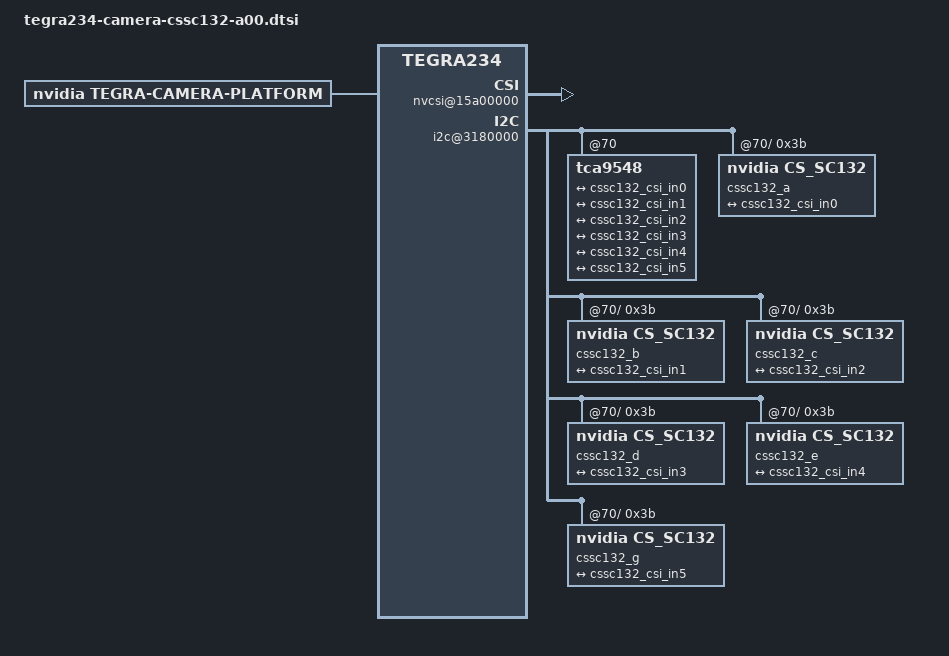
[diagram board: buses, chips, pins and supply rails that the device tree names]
/*
 * Copyright (c) 2015-2022, www.veye.cc.  All rights reserved.
 *
 * This program is free software; you can redistribute it and/or modify it
 * under the terms and conditions of the GNU General Public License,
 * version 2, as published by the Free Software Foundation.
 *
 * This program is distributed in the hope it will be useful, but WITHOUT
 * ANY WARRANTY; without even the implied warranty of MERCHANTABILITY or
 * FITNESS FOR A PARTICULAR PURPOSE.  See the GNU General Public License for
 * more details.
 *
 * You should have received a copy of the GNU General Public License
 * along with this program.  If not, see <http://www.gnu.org/licenses/>.
 */

/ {
	tegra-capture-vi {
		num-channels = <6>;
		ports {
			#address-cells = <1>;
			#size-cells = <0>;
			port@0 {
				reg = <0>;
				cssc132_vi_in0: endpoint {
					port-index = <0>;
					bus-width = <2>;
					remote-endpoint = <&cssc132_csi_out0>;
				};
			};
			port@1 {
				reg = <1>;
				cssc132_vi_in1: endpoint {
					port-index = <1>;
					bus-width = <2>;
					remote-endpoint = <&cssc132_csi_out1>;
				};
			};
			port@2 {
				reg = <2>;
				cssc132_vi_in2: endpoint {
					port-index = <2>;
					bus-width = <2>;
					remote-endpoint = <&cssc132_csi_out2>;
				};
			};
			port@3 {
				reg = <3>;
				cssc132_vi_in3: endpoint {
					port-index = <3>;
					bus-width = <2>;
					remote-endpoint = <&cssc132_csi_out3>;
				};
			};
			port@4 {
				reg = <4>;
				cssc132_vi_in4: endpoint {
					port-index = <4>;
					bus-width = <2>;
					remote-endpoint = <&cssc132_csi_out4>;
				};
			};
			port@5 {
				reg = <5>;
				cssc132_vi_in5: endpoint {
					port-index = <5>;
					bus-width = <2>;
					remote-endpoint = <&cssc132_csi_out5>;
				};
			};
		};
	};

	host1x@13e00000 {
		nvcsi@15a00000 {
			num-channels = <6>;
			#address-cells = <1>;
			#size-cells = <0>;
			status = "okay";
			channel@0 {
				reg = <0>;
				ports {
					#address-cells = <1>;
					#size-cells = <0>;
					port@0 {
						reg = <0>;
						cssc132_csi_in0: endpoint@0 {
							port-index = <0>;
							bus-width = <2>;
							remote-endpoint = <&cssc132_out0>;
						};
					};
					port@1 {
						reg = <1>;
						cssc132_csi_out0: endpoint@1 {
							remote-endpoint = <&cssc132_vi_in0>;
						};
					};
				};
			};
			channel@1 {
				reg = <1>;
				ports {
					#address-cells = <1>;
					#size-cells = <0>;
					port@0 {
						reg = <0>;
						cssc132_csi_in1: endpoint@2 {
							port-index = <1>;
							bus-width = <2>;
							remote-endpoint = <&cssc132_out1>;
						};
					};
					port@1 {
						reg = <1>;
						cssc132_csi_out1: endpoint@3 {
							remote-endpoint = <&cssc132_vi_in1>;
						};
					};
				};
			};
			channel@2 {
				reg = <2>;
				ports {
					#address-cells = <1>;
					#size-cells = <0>;
					port@0 {
						reg = <0>;
						cssc132_csi_in2: endpoint@4 {
							port-index = <2>;
							bus-width = <2>;
							remote-endpoint = <&cssc132_out2>;
						};
					};
					port@1 {
						reg = <1>;
						cssc132_csi_out2: endpoint@5 {
							remote-endpoint = <&cssc132_vi_in2>;
						};
					};
				};
			};
			channel@3 {
				reg = <3>;
				ports {
					#address-cells = <1>;
					#size-cells = <0>;
					port@0 {
						reg = <0>;
						cssc132_csi_in3: endpoint@6 {
							port-index = <3>;
							bus-width = <2>;
							remote-endpoint = <&cssc132_out3>;
						};
					};
					port@1 {
						reg = <1>;
						cssc132_csi_out3: endpoint@7 {
							remote-endpoint = <&cssc132_vi_in3>;
						};
					};
				};
			};
			channel@4 {
				reg = <4>;
				ports {
					#address-cells = <1>;
					#size-cells = <0>;
					port@0 {
						reg = <0>;
						cssc132_csi_in4: endpoint@8 {
							port-index = <4>;
							bus-width = <2>;
							remote-endpoint = <&cssc132_out4>;
						};
					};
					port@1 {
						reg = <1>;
						cssc132_csi_out4: endpoint@9 {
							remote-endpoint = <&cssc132_vi_in4>;
						};
					};
				};
			};
			channel@5 {
				reg = <5>;
				ports {
					#address-cells = <1>;
					#size-cells = <0>;
					port@0 {
						reg = <0>;
						cssc132_csi_in5: endpoint@10 {
							port-index = <6>;
							bus-width = <2>;
							remote-endpoint = <&cssc132_out5>;
						};
					};
					port@1 {
						reg = <1>;
						cssc132_csi_out5: endpoint@11 {
							remote-endpoint = <&cssc132_vi_in5>;
						};
					};
				};
			};
		};
	};

	i2c@3180000 {
		tca9548@70 {
			i2c@0 {
				cssc132_a@3b {
					compatible = "nvidia,cs_sc132";
					reg = <0x3b>;
					devnode = "video0";

					/* Physical dimensions of sensor */
                    physical_w = "5.6";
                    physical_h = "3.1";

					/* Define any required hw resources needed by driver */
					/* ie. clocks, io pins, power sources */
					avdd-reg = "vana";
					iovdd-reg = "vif";

					/* Enable EEPROM support */
					has-eeprom = "0";
                mode0 { /* SC132_MODE_1280X1080_45FPS */
					mclk_khz = "24000";
					num_lanes = "2";
					tegra_sinterface = "serial_a";
					phy_mode = "DPHY";
					discontinuous_clk = "yes";
					dpcm_enable = "false";
					cil_settletime = "0";

					active_w = "1280";
					active_h = "1080";
					mode_type = "yuv";
                    pixel_phase = "uyvy";
                    csi_pixel_bit_depth = "16";
					readout_orientation = "0";
					line_length = "1500";
					inherent_gain = "1";
					mclk_multiplier = "2";
					pix_clk_hz = "74250000";

					gain_factor = "16";
					framerate_factor = "1000000";
					exposure_factor = "1000000";
					min_gain_val = "16"; /* 1.00x */
					max_gain_val = "170"; /* 10.66x */
					step_gain_val = "1";
					default_gain = "16"; /* 1.00x */
					min_hdr_ratio = "1";
					max_hdr_ratio = "1";
					min_framerate = "2000000"; /* 2.0 fps */
					max_framerate = "45000000"; /* 45 fps */
					step_framerate = "1000000";
					default_framerate = "45000000"; /* 45 fps */
					min_exp_time = "13"; /* us */
					max_exp_time = "222222"; /* us */
					step_exp_time = "1";
					default_exp_time = "2495"; /* us */

					embedded_metadata_height = "0";
				};
                mode1 { /* SC132_MODE_1080X1280_45FPS */
					mclk_khz = "24000";
					num_lanes = "2";
					tegra_sinterface = "serial_a";
					phy_mode = "DPHY";
					discontinuous_clk = "yes";
					dpcm_enable = "false";
					cil_settletime = "0";

					active_w = "1080";
					active_h = "1280";
					mode_type = "yuv";
                    pixel_phase = "uyvy";
                    csi_pixel_bit_depth = "16";
					readout_orientation = "0";
					line_length = "1200";
					inherent_gain = "1";
					mclk_multiplier = "2";
					pix_clk_hz = "74250000";

					gain_factor = "16";
					framerate_factor = "1000000";
					exposure_factor = "1000000";
					min_gain_val = "16"; /* 1.00x */
					max_gain_val = "170"; /* 10.66x */
					step_gain_val = "1";
					default_gain = "16"; /* 1.00x */
					min_hdr_ratio = "1";
					max_hdr_ratio = "1";
					min_framerate = "2000000"; /* 2.0 fps */
					max_framerate = "45000000"; /* 45 fps */
					step_framerate = "1000000";
					default_framerate = "45000000"; /* 45 fps */
					min_exp_time = "13"; /* us */
					max_exp_time = "222222"; /* us */
					step_exp_time = "1";
					default_exp_time = "2495"; /* us */

					embedded_metadata_height = "0";
				};
                mode2 { /* SC132_MODE_1280X720_CROP_60FPS */
					mclk_khz = "24000";
					num_lanes = "2";
					tegra_sinterface = "serial_a";
					phy_mode = "DPHY";
					discontinuous_clk = "yes";
					dpcm_enable = "false";
					cil_settletime = "0";

					active_w = "1280";
					active_h = "720";
					mode_type = "yuv";
                    pixel_phase = "uyvy";
                    csi_pixel_bit_depth = "16";
					readout_orientation = "0";
					line_length = "1650";
					inherent_gain = "1";
					mclk_multiplier = "2";
					pix_clk_hz = "74250000";

					gain_factor = "16";
					framerate_factor = "1000000";
					exposure_factor = "1000000";
					min_gain_val = "16"; /* 1.00x */
					max_gain_val = "170"; /* 10.66x */
					step_gain_val = "1";
					default_gain = "16"; /* 1.00x */
					min_hdr_ratio = "1";
					max_hdr_ratio = "1";
					min_framerate = "2000000"; /* 2.0 fps */
					max_framerate = "60000000"; /* 60 fps */
					step_framerate = "1000000";
					default_framerate = "60000000"; /* 60 fps */
					min_exp_time = "13"; /* us */
					max_exp_time = "166666"; /* us */
					step_exp_time = "1";
					default_exp_time = "2495"; /* us */

					embedded_metadata_height = "0";
				};
                mode3 { /* SC132_MODE_720X12800_CROP_60FPS */
					mclk_khz = "24000";
					num_lanes = "2";
					tegra_sinterface = "serial_a";
					phy_mode = "DPHY";
					discontinuous_clk = "yes";
					dpcm_enable = "false";
					cil_settletime = "0";

					active_w = "720";
					active_h = "1280";
					mode_type = "yuv";
                    pixel_phase = "uyvy";
                    csi_pixel_bit_depth = "16";
					readout_orientation = "0";
					line_length = "900";
					inherent_gain = "1";
					mclk_multiplier = "2";
					pix_clk_hz = "74250000";

					gain_factor = "16";
					framerate_factor = "1000000";
					exposure_factor = "1000000";
					min_gain_val = "16"; /* 1.00x */
					max_gain_val = "170"; /* 10.66x */
					step_gain_val = "1";
					default_gain = "16"; /* 1.00x */
					min_hdr_ratio = "1";
					max_hdr_ratio = "1";
					min_framerate = "2000000"; /* 2.0 fps */
					max_framerate = "60000000"; /* 60 fps */
					step_framerate = "1000000";
					default_framerate = "60000000"; /* 60 fps */
					min_exp_time = "13"; /* us */
					max_exp_time = "166666"; /* us */
					step_exp_time = "1";
					default_exp_time = "2495"; /* us */

					embedded_metadata_height = "0";
				};
                mode4 { /* SC132_MODE_640X480_CROP_120FPS */
					mclk_khz = "24000";
					num_lanes = "2";
					tegra_sinterface = "serial_a";
					phy_mode = "DPHY";
					discontinuous_clk = "yes";
					dpcm_enable = "false";
					cil_settletime = "0";

					active_w = "640";
					active_h = "480";
					mode_type = "yuv";
                    pixel_phase = "uyvy";
                    csi_pixel_bit_depth = "16";
					readout_orientation = "0";
					line_length = "825";
					inherent_gain = "1";
					mclk_multiplier = "2";
					pix_clk_hz = "74250000";

					gain_factor = "16";
					framerate_factor = "1000000";
					exposure_factor = "1000000";
					min_gain_val = "16"; /* 1.00x */
					max_gain_val = "170"; /* 10.66x */
					step_gain_val = "1";
					default_gain = "16"; /* 1.00x */
					min_hdr_ratio = "1";
					max_hdr_ratio = "1";
					min_framerate = "2000000"; /* 2.0 fps */
					max_framerate = "120000000"; /* 120 fps */
					step_framerate = "1";
					default_framerate = "120000000"; /* 120 fps */
					min_exp_time = "13"; /* us */
					max_exp_time = "8333"; /* us */
					step_exp_time = "1";
					default_exp_time = "2495"; /* us */

					embedded_metadata_height = "0";
				};
                mode5 { /* SC132_MODE_480X640_CROP_120FPS */
					mclk_khz = "24000";
					num_lanes = "2";
					tegra_sinterface = "serial_a";
					phy_mode = "DPHY";
					discontinuous_clk = "yes";
					dpcm_enable = "false";
					cil_settletime = "0";

					active_w = "480";
					active_h = "640";
					mode_type = "yuv";
                    pixel_phase = "uyvy";
                    csi_pixel_bit_depth = "16";
					readout_orientation = "0";
					line_length = "750";
					inherent_gain = "1";
					mclk_multiplier = "2";
					pix_clk_hz = "74250000";

					gain_factor = "16";
					framerate_factor = "1000000";
					exposure_factor = "1000000";
					min_gain_val = "16"; /* 1.00x */
					max_gain_val = "170"; /* 10.66x */
					step_gain_val = "1";
					default_gain = "16"; /* 1.00x */
					min_hdr_ratio = "1";
					max_hdr_ratio = "1";
					min_framerate = "2000000"; /* 2.0 fps */
					max_framerate = "120000000"; /* 120 fps */
					step_framerate = "1";
					default_framerate = "120000000"; /* 120 fps */
					min_exp_time = "13"; /* us */
					max_exp_time = "8333"; /* us */
					step_exp_time = "1";
					default_exp_time = "2495"; /* us */

					embedded_metadata_height = "0";
				};
					ports {
						#address-cells = <1>;
						#size-cells = <0>;

						port@0 {
							reg = <0>;
							cssc132_out0: endpoint {
								port-index = <0>;
								bus-width = <2>;
								remote-endpoint = <&cssc132_csi_in0>;
							};
						};
					};
				};
			};

			i2c@1 {
				cssc132_b@3b {
					compatible = "nvidia,cs_sc132";
					reg = <0x3b>;
					devnode = "video1";

					/* Physical dimensions of sensor */
                    physical_w = "5.6";
                    physical_h = "3.1";

					/* Define any required hw resources needed by driver */
					/* ie. clocks, io pins, power sources */
					avdd-reg = "vana";
					iovdd-reg = "vif";

					/* Enable EEPROM support */
					has-eeprom = "0";

				mode0 { /* SC132_MODE_1280X1080_45FPS */
					mclk_khz = "24000";
					num_lanes = "2";
					tegra_sinterface = "serial_b";
					phy_mode = "DPHY";
					discontinuous_clk = "yes";
					dpcm_enable = "false";
					cil_settletime = "0";

					active_w = "1280";
					active_h = "1080";
					mode_type = "yuv";
                    pixel_phase = "uyvy";
                    csi_pixel_bit_depth = "16";
					readout_orientation = "0";
					line_length = "1500";
					inherent_gain = "1";
					mclk_multiplier = "2";
					pix_clk_hz = "74250000";

					gain_factor = "16";
					framerate_factor = "1000000";
					exposure_factor = "1000000";
					min_gain_val = "16"; /* 1.00x */
					max_gain_val = "170"; /* 10.66x */
					step_gain_val = "1";
					default_gain = "16"; /* 1.00x */
					min_hdr_ratio = "1";
					max_hdr_ratio = "1";
					min_framerate = "2000000"; /* 2.0 fps */
					max_framerate = "45000000"; /* 45 fps */
					step_framerate = "1000000";
					default_framerate = "45000000"; /* 45 fps */
					min_exp_time = "13"; /* us */
					max_exp_time = "222222"; /* us */
					step_exp_time = "1";
					default_exp_time = "2495"; /* us */

					embedded_metadata_height = "0";
				};
                mode1 { /* SC132_MODE_1080X1280_45FPS */
					mclk_khz = "24000";
					num_lanes = "2";
					tegra_sinterface = "serial_b";
					phy_mode = "DPHY";
					discontinuous_clk = "yes";
					dpcm_enable = "false";
					cil_settletime = "0";

					active_w = "1080";
					active_h = "1280";
					mode_type = "yuv";
                    pixel_phase = "uyvy";
                    csi_pixel_bit_depth = "16";
					readout_orientation = "0";
					line_length = "1200";
					inherent_gain = "1";
					mclk_multiplier = "2";
					pix_clk_hz = "74250000";

					gain_factor = "16";
					framerate_factor = "1000000";
					exposure_factor = "1000000";
					min_gain_val = "16"; /* 1.00x */
					max_gain_val = "170"; /* 10.66x */
					step_gain_val = "1";
					default_gain = "16"; /* 1.00x */
					min_hdr_ratio = "1";
					max_hdr_ratio = "1";
					min_framerate = "2000000"; /* 2.0 fps */
					max_framerate = "45000000"; /* 45 fps */
					step_framerate = "1000000";
					default_framerate = "45000000"; /* 45 fps */
					min_exp_time = "13"; /* us */
					max_exp_time = "222222"; /* us */
					step_exp_time = "1";
					default_exp_time = "2495"; /* us */

					embedded_metadata_height = "0";
				};
                mode2 { /* SC132_MODE_1280X720_CROP_60FPS */
					mclk_khz = "24000";
					num_lanes = "2";
					tegra_sinterface = "serial_b";
					phy_mode = "DPHY";
					discontinuous_clk = "yes";
					dpcm_enable = "false";
					cil_settletime = "0";

					active_w = "1280";
					active_h = "720";
					mode_type = "yuv";
                    pixel_phase = "uyvy";
                    csi_pixel_bit_depth = "16";
					readout_orientation = "0";
					line_length = "1650";
					inherent_gain = "1";
					mclk_multiplier = "2";
					pix_clk_hz = "74250000";

					gain_factor = "16";
					framerate_factor = "1000000";
					exposure_factor = "1000000";
					min_gain_val = "16"; /* 1.00x */
					max_gain_val = "170"; /* 10.66x */
					step_gain_val = "1";
					default_gain = "16"; /* 1.00x */
					min_hdr_ratio = "1";
					max_hdr_ratio = "1";
					min_framerate = "2000000"; /* 2.0 fps */
					max_framerate = "60000000"; /* 60 fps */
					step_framerate = "1000000";
					default_framerate = "60000000"; /* 60 fps */
					min_exp_time = "13"; /* us */
					max_exp_time = "166666"; /* us */
					step_exp_time = "1";
					default_exp_time = "2495"; /* us */

					embedded_metadata_height = "0";
				};
                mode3 { /* SC132_MODE_720X12800_CROP_60FPS */
					mclk_khz = "24000";
					num_lanes = "2";
					tegra_sinterface = "serial_b";
					phy_mode = "DPHY";
					discontinuous_clk = "yes";
					dpcm_enable = "false";
					cil_settletime = "0";

					active_w = "720";
					active_h = "1280";
					mode_type = "yuv";
                    pixel_phase = "uyvy";
                    csi_pixel_bit_depth = "16";
					readout_orientation = "0";
					line_length = "900";
					inherent_gain = "1";
					mclk_multiplier = "2";
					pix_clk_hz = "74250000";

					gain_factor = "16";
					framerate_factor = "1000000";
					exposure_factor = "1000000";
					min_gain_val = "16"; /* 1.00x */
					max_gain_val = "170"; /* 10.66x */
					step_gain_val = "1";
					default_gain = "16"; /* 1.00x */
					min_hdr_ratio = "1";
					max_hdr_ratio = "1";
					min_framerate = "2000000"; /* 2.0 fps */
					max_framerate = "60000000"; /* 60 fps */
					step_framerate = "1000000";
					default_framerate = "60000000"; /* 60 fps */
					min_exp_time = "13"; /* us */
					max_exp_time = "166666"; /* us */
					step_exp_time = "1";
					default_exp_time = "2495"; /* us */

					embedded_metadata_height = "0";
				};
                mode4 { /* SC132_MODE_640X480_CROP_120FPS */
					mclk_khz = "24000";
					num_lanes = "2";
					tegra_sinterface = "serial_b";
					phy_mode = "DPHY";
					discontinuous_clk = "yes";
					dpcm_enable = "false";
					cil_settletime = "0";

					active_w = "640";
					active_h = "480";
					mode_type = "yuv";
                    pixel_phase = "uyvy";
                    csi_pixel_bit_depth = "16";
					readout_orientation = "0";
					line_length = "825";
					inherent_gain = "1";
					mclk_multiplier = "2";
					pix_clk_hz = "74250000";

					gain_factor = "16";
					framerate_factor = "1000000";
					exposure_factor = "1000000";
					min_gain_val = "16"; /* 1.00x */
					max_gain_val = "170"; /* 10.66x */
					step_gain_val = "1";
					default_gain = "16"; /* 1.00x */
					min_hdr_ratio = "1";
					max_hdr_ratio = "1";
					min_framerate = "2000000"; /* 2.0 fps */
					max_framerate = "120000000"; /* 120 fps */
					step_framerate = "1";
					default_framerate = "120000000"; /* 120 fps */
					min_exp_time = "13"; /* us */
					max_exp_time = "8333"; /* us */
					step_exp_time = "1";
					default_exp_time = "2495"; /* us */

					embedded_metadata_height = "0";
				};
                mode5 { /* SC132_MODE_480X640_CROP_120FPS */
					mclk_khz = "24000";
					num_lanes = "2";
					tegra_sinterface = "serial_b";
					phy_mode = "DPHY";
					discontinuous_clk = "yes";
					dpcm_enable = "false";
					cil_settletime = "0";

					active_w = "480";
					active_h = "640";
					mode_type = "yuv";
                    pixel_phase = "uyvy";
                    csi_pixel_bit_depth = "16";
					readout_orientation = "0";
					line_length = "750";
					inherent_gain = "1";
					mclk_multiplier = "2";
					pix_clk_hz = "74250000";

					gain_factor = "16";
					framerate_factor = "1000000";
					exposure_factor = "1000000";
					min_gain_val = "16"; /* 1.00x */
					max_gain_val = "170"; /* 10.66x */
					step_gain_val = "1";
					default_gain = "16"; /* 1.00x */
					min_hdr_ratio = "1";
					max_hdr_ratio = "1";
					min_framerate = "2000000"; /* 2.0 fps */
					max_framerate = "120000000"; /* 120 fps */
					step_framerate = "1";
					default_framerate = "120000000"; /* 120 fps */
					min_exp_time = "13"; /* us */
					max_exp_time = "8333"; /* us */
					step_exp_time = "1";
					default_exp_time = "2495"; /* us */

					embedded_metadata_height = "0";
				};
					ports {
						#address-cells = <1>;
						#size-cells = <0>;

						port@0 {
							reg = <0>;
							cssc132_out1: endpoint {
								port-index = <1>;
								bus-width = <2>;
								remote-endpoint = <&cssc132_csi_in1>;
							};
						};
					};
				};
			};

			i2c@2 {
				cssc132_c@3b {
					compatible = "nvidia,cs_sc132";
					reg = <0x3b>;
					devnode = "video2";

					/* Physical dimensions of sensor */
                    physical_w = "5.6";
                    physical_h = "3.1";

					/* Define any required hw resources needed by driver */
					/* ie. clocks, io pins, power sources */
					avdd-reg = "vana";
					iovdd-reg = "vif";

					/* Enable EEPROM support */
					has-eeprom = "0";

				mode0 { /* SC132_MODE_1280X1080_45FPS */
					mclk_khz = "24000";
					num_lanes = "2";
					tegra_sinterface = "serial_c";
					phy_mode = "DPHY";
					discontinuous_clk = "yes";
					dpcm_enable = "false";
					cil_settletime = "0";

					active_w = "1280";
					active_h = "1080";
					mode_type = "yuv";
                    pixel_phase = "uyvy";
                    csi_pixel_bit_depth = "16";
					readout_orientation = "0";
					line_length = "1500";
					inherent_gain = "1";
					mclk_multiplier = "2";
					pix_clk_hz = "74250000";

					gain_factor = "16";
					framerate_factor = "1000000";
					exposure_factor = "1000000";
					min_gain_val = "16"; /* 1.00x */
					max_gain_val = "170"; /* 10.66x */
					step_gain_val = "1";
					default_gain = "16"; /* 1.00x */
					min_hdr_ratio = "1";
					max_hdr_ratio = "1";
					min_framerate = "2000000"; /* 2.0 fps */
					max_framerate = "45000000"; /* 45 fps */
					step_framerate = "1000000";
					default_framerate = "45000000"; /* 45 fps */
					min_exp_time = "13"; /* us */
					max_exp_time = "222222"; /* us */
					step_exp_time = "1";
					default_exp_time = "2495"; /* us */

					embedded_metadata_height = "0";
				};
                mode1 { /* SC132_MODE_1080X1280_45FPS */
					mclk_khz = "24000";
					num_lanes = "2";
					tegra_sinterface = "serial_c";
					phy_mode = "DPHY";
					discontinuous_clk = "yes";
					dpcm_enable = "false";
					cil_settletime = "0";

					active_w = "1080";
					active_h = "1280";
					mode_type = "yuv";
                    pixel_phase = "uyvy";
                    csi_pixel_bit_depth = "16";
					readout_orientation = "0";
					line_length = "1200";
					inherent_gain = "1";
					mclk_multiplier = "2";
					pix_clk_hz = "74250000";

					gain_factor = "16";
					framerate_factor = "1000000";
					exposure_factor = "1000000";
					min_gain_val = "16"; /* 1.00x */
					max_gain_val = "170"; /* 10.66x */
					step_gain_val = "1";
					default_gain = "16"; /* 1.00x */
					min_hdr_ratio = "1";
					max_hdr_ratio = "1";
					min_framerate = "2000000"; /* 2.0 fps */
					max_framerate = "45000000"; /* 45 fps */
					step_framerate = "1000000";
					default_framerate = "45000000"; /* 45 fps */
					min_exp_time = "13"; /* us */
					max_exp_time = "222222"; /* us */
					step_exp_time = "1";
					default_exp_time = "2495"; /* us */

					embedded_metadata_height = "0";
				};
                mode2 { /* SC132_MODE_1280X720_CROP_60FPS */
					mclk_khz = "24000";
					num_lanes = "2";
					tegra_sinterface = "serial_c";
					phy_mode = "DPHY";
					discontinuous_clk = "yes";
					dpcm_enable = "false";
					cil_settletime = "0";

					active_w = "1280";
					active_h = "720";
					mode_type = "yuv";
                    pixel_phase = "uyvy";
                    csi_pixel_bit_depth = "16";
					readout_orientation = "0";
					line_length = "1650";
					inherent_gain = "1";
					mclk_multiplier = "2";
					pix_clk_hz = "74250000";

					gain_factor = "16";
					framerate_factor = "1000000";
					exposure_factor = "1000000";
					min_gain_val = "16"; /* 1.00x */
					max_gain_val = "170"; /* 10.66x */
					step_gain_val = "1";
					default_gain = "16"; /* 1.00x */
					min_hdr_ratio = "1";
					max_hdr_ratio = "1";
					min_framerate = "2000000"; /* 2.0 fps */
					max_framerate = "60000000"; /* 60 fps */
					step_framerate = "1000000";
					default_framerate = "60000000"; /* 60 fps */
					min_exp_time = "13"; /* us */
					max_exp_time = "166666"; /* us */
					step_exp_time = "1";
					default_exp_time = "2495"; /* us */

					embedded_metadata_height = "0";
				};
                mode3 { /* SC132_MODE_720X12800_CROP_60FPS */
					mclk_khz = "24000";
					num_lanes = "2";
					tegra_sinterface = "serial_c";
					phy_mode = "DPHY";
					discontinuous_clk = "yes";
					dpcm_enable = "false";
					cil_settletime = "0";

					active_w = "720";
					active_h = "1280";
					mode_type = "yuv";
                    pixel_phase = "uyvy";
                    csi_pixel_bit_depth = "16";
					readout_orientation = "0";
					line_length = "900";
					inherent_gain = "1";
					mclk_multiplier = "2";
					pix_clk_hz = "74250000";

					gain_factor = "16";
					framerate_factor = "1000000";
					exposure_factor = "1000000";
					min_gain_val = "16"; /* 1.00x */
					max_gain_val = "170"; /* 10.66x */
					step_gain_val = "1";
					default_gain = "16"; /* 1.00x */
					min_hdr_ratio = "1";
					max_hdr_ratio = "1";
					min_framerate = "2000000"; /* 2.0 fps */
					max_framerate = "60000000"; /* 60 fps */
					step_framerate = "1000000";
					default_framerate = "60000000"; /* 60 fps */
					min_exp_time = "13"; /* us */
					max_exp_time = "166666"; /* us */
					step_exp_time = "1";
					default_exp_time = "2495"; /* us */

					embedded_metadata_height = "0";
				};
                mode4 { /* SC132_MODE_640X480_CROP_120FPS */
					mclk_khz = "24000";
					num_lanes = "2";
					tegra_sinterface = "serial_c";
					phy_mode = "DPHY";
					discontinuous_clk = "yes";
					dpcm_enable = "false";
					cil_settletime = "0";

					active_w = "640";
					active_h = "480";
					mode_type = "yuv";
                    pixel_phase = "uyvy";
                    csi_pixel_bit_depth = "16";
					readout_orientation = "0";
					line_length = "825";
					inherent_gain = "1";
					mclk_multiplier = "2";
					pix_clk_hz = "74250000";

					gain_factor = "16";
					framerate_factor = "1000000";
					exposure_factor = "1000000";
					min_gain_val = "16"; /* 1.00x */
					max_gain_val = "170"; /* 10.66x */
					step_gain_val = "1";
					default_gain = "16"; /* 1.00x */
					min_hdr_ratio = "1";
					max_hdr_ratio = "1";
					min_framerate = "2000000"; /* 2.0 fps */
					max_framerate = "120000000"; /* 120 fps */
					step_framerate = "1";
					default_framerate = "120000000"; /* 120 fps */
					min_exp_time = "13"; /* us */
					max_exp_time = "8333"; /* us */
					step_exp_time = "1";
					default_exp_time = "2495"; /* us */

					embedded_metadata_height = "0";
				};
                mode5 { /* SC132_MODE_480X640_CROP_120FPS */
					mclk_khz = "24000";
					num_lanes = "2";
					tegra_sinterface = "serial_c";
					phy_mode = "DPHY";
					discontinuous_clk = "yes";
					dpcm_enable = "false";
					cil_settletime = "0";

					active_w = "480";
					active_h = "640";
					mode_type = "yuv";
                    pixel_phase = "uyvy";
                    csi_pixel_bit_depth = "16";
					readout_orientation = "0";
					line_length = "750";
					inherent_gain = "1";
					mclk_multiplier = "2";
					pix_clk_hz = "74250000";

					gain_factor = "16";
					framerate_factor = "1000000";
					exposure_factor = "1000000";
					min_gain_val = "16"; /* 1.00x */
					max_gain_val = "170"; /* 10.66x */
					step_gain_val = "1";
					default_gain = "16"; /* 1.00x */
					min_hdr_ratio = "1";
					max_hdr_ratio = "1";
					min_framerate = "2000000"; /* 2.0 fps */
					max_framerate = "120000000"; /* 120 fps */
					step_framerate = "1";
					default_framerate = "120000000"; /* 120 fps */
					min_exp_time = "13"; /* us */
					max_exp_time = "8333"; /* us */
					step_exp_time = "1";
					default_exp_time = "2495"; /* us */

					embedded_metadata_height = "0";
				};


					ports {
						#address-cells = <1>;
						#size-cells = <0>;

						port@0 {
							reg = <0>;
							cssc132_out2: endpoint {
								port-index = <2>;
								bus-width = <2>;
								remote-endpoint = <&cssc132_csi_in2>;
							};
						};
					};
				};
			};

			i2c@3 {
				cssc132_d@3b {
					compatible = "nvidia,cs_sc132";
					reg = <0x3b>;
					devnode = "video3";

					/* Physical dimensions of sensor */
                    physical_w = "5.6";
                    physical_h = "3.1";

					/* Define any required hw resources needed by driver */
					/* ie. clocks, io pins, power sources */
					avdd-reg = "vana";
					iovdd-reg = "vif";

					/* Enable EEPROM support */
					has-eeprom = "0";

				mode0 { /* SC132_MODE_1280X1080_45FPS */
					mclk_khz = "24000";
					num_lanes = "2";
					tegra_sinterface = "serial_d";
					phy_mode = "DPHY";
					discontinuous_clk = "yes";
					dpcm_enable = "false";
					cil_settletime = "0";

					active_w = "1280";
					active_h = "1080";
					mode_type = "yuv";
                    pixel_phase = "uyvy";
                    csi_pixel_bit_depth = "16";
					readout_orientation = "0";
					line_length = "1500";
					inherent_gain = "1";
					mclk_multiplier = "2";
					pix_clk_hz = "74250000";

					gain_factor = "16";
					framerate_factor = "1000000";
					exposure_factor = "1000000";
					min_gain_val = "16"; /* 1.00x */
					max_gain_val = "170"; /* 10.66x */
					step_gain_val = "1";
					default_gain = "16"; /* 1.00x */
					min_hdr_ratio = "1";
					max_hdr_ratio = "1";
					min_framerate = "2000000"; /* 2.0 fps */
					max_framerate = "45000000"; /* 45 fps */
					step_framerate = "1000000";
					default_framerate = "45000000"; /* 45 fps */
					min_exp_time = "13"; /* us */
					max_exp_time = "222222"; /* us */
					step_exp_time = "1";
					default_exp_time = "2495"; /* us */

					embedded_metadata_height = "0";
				};
                mode1 { /* SC132_MODE_1080X1280_45FPS */
					mclk_khz = "24000";
					num_lanes = "2";
					tegra_sinterface = "serial_d";
					phy_mode = "DPHY";
					discontinuous_clk = "yes";
					dpcm_enable = "false";
					cil_settletime = "0";

					active_w = "1080";
					active_h = "1280";
					mode_type = "yuv";
                    pixel_phase = "uyvy";
                    csi_pixel_bit_depth = "16";
					readout_orientation = "0";
					line_length = "1200";
					inherent_gain = "1";
					mclk_multiplier = "2";
					pix_clk_hz = "74250000";

					gain_factor = "16";
					framerate_factor = "1000000";
					exposure_factor = "1000000";
					min_gain_val = "16"; /* 1.00x */
					max_gain_val = "170"; /* 10.66x */
					step_gain_val = "1";
					default_gain = "16"; /* 1.00x */
					min_hdr_ratio = "1";
					max_hdr_ratio = "1";
					min_framerate = "2000000"; /* 2.0 fps */
					max_framerate = "45000000"; /* 45 fps */
					step_framerate = "1000000";
					default_framerate = "45000000"; /* 45 fps */
					min_exp_time = "13"; /* us */
					max_exp_time = "222222"; /* us */
					step_exp_time = "1";
					default_exp_time = "2495"; /* us */

					embedded_metadata_height = "0";
				};
                mode2 { /* SC132_MODE_1280X720_CROP_60FPS */
					mclk_khz = "24000";
					num_lanes = "2";
					tegra_sinterface = "serial_d";
					phy_mode = "DPHY";
					discontinuous_clk = "yes";
					dpcm_enable = "false";
					cil_settletime = "0";

					active_w = "1280";
					active_h = "720";
					mode_type = "yuv";
                    pixel_phase = "uyvy";
                    csi_pixel_bit_depth = "16";
					readout_orientation = "0";
					line_length = "1650";
					inherent_gain = "1";
					mclk_multiplier = "2";
					pix_clk_hz = "74250000";

					gain_factor = "16";
					framerate_factor = "1000000";
					exposure_factor = "1000000";
					min_gain_val = "16"; /* 1.00x */
					max_gain_val = "170"; /* 10.66x */
					step_gain_val = "1";
					default_gain = "16"; /* 1.00x */
					min_hdr_ratio = "1";
					max_hdr_ratio = "1";
					min_framerate = "2000000"; /* 2.0 fps */
					max_framerate = "60000000"; /* 60 fps */
					step_framerate = "1000000";
					default_framerate = "60000000"; /* 60 fps */
					min_exp_time = "13"; /* us */
					max_exp_time = "166666"; /* us */
					step_exp_time = "1";
					default_exp_time = "2495"; /* us */

					embedded_metadata_height = "0";
				};
                mode3 { /* SC132_MODE_720X12800_CROP_60FPS */
					mclk_khz = "24000";
					num_lanes = "2";
					tegra_sinterface = "serial_d";
					phy_mode = "DPHY";
					discontinuous_clk = "yes";
					dpcm_enable = "false";
					cil_settletime = "0";

					active_w = "720";
					active_h = "1280";
					mode_type = "yuv";
                    pixel_phase = "uyvy";
                    csi_pixel_bit_depth = "16";
					readout_orientation = "0";
					line_length = "900";
					inherent_gain = "1";
					mclk_multiplier = "2";
					pix_clk_hz = "74250000";

					gain_factor = "16";
					framerate_factor = "1000000";
					exposure_factor = "1000000";
					min_gain_val = "16"; /* 1.00x */
					max_gain_val = "170"; /* 10.66x */
					step_gain_val = "1";
					default_gain = "16"; /* 1.00x */
					min_hdr_ratio = "1";
					max_hdr_ratio = "1";
					min_framerate = "2000000"; /* 2.0 fps */
					max_framerate = "60000000"; /* 60 fps */
					step_framerate = "1000000";
					default_framerate = "60000000"; /* 60 fps */
					min_exp_time = "13"; /* us */
					max_exp_time = "166666"; /* us */
					step_exp_time = "1";
					default_exp_time = "2495"; /* us */

					embedded_metadata_height = "0";
				};
                mode4 { /* SC132_MODE_640X480_CROP_120FPS */
					mclk_khz = "24000";
					num_lanes = "2";
					tegra_sinterface = "serial_d";
					phy_mode = "DPHY";
					discontinuous_clk = "yes";
					dpcm_enable = "false";
					cil_settletime = "0";

					active_w = "640";
					active_h = "480";
					mode_type = "yuv";
                    pixel_phase = "uyvy";
                    csi_pixel_bit_depth = "16";
					readout_orientation = "0";
					line_length = "825";
					inherent_gain = "1";
					mclk_multiplier = "2";
					pix_clk_hz = "74250000";

					gain_factor = "16";
					framerate_factor = "1000000";
					exposure_factor = "1000000";
					min_gain_val = "16"; /* 1.00x */
					max_gain_val = "170"; /* 10.66x */
					step_gain_val = "1";
					default_gain = "16"; /* 1.00x */
					min_hdr_ratio = "1";
					max_hdr_ratio = "1";
					min_framerate = "2000000"; /* 2.0 fps */
					max_framerate = "120000000"; /* 120 fps */
					step_framerate = "1";
					default_framerate = "120000000"; /* 120 fps */
					min_exp_time = "13"; /* us */
					max_exp_time = "8333"; /* us */
					step_exp_time = "1";
					default_exp_time = "2495"; /* us */

					embedded_metadata_height = "0";
				};
                mode5 { /* SC132_MODE_480X640_CROP_120FPS */
					mclk_khz = "24000";
					num_lanes = "2";
					tegra_sinterface = "serial_d";
					phy_mode = "DPHY";
					discontinuous_clk = "yes";
					dpcm_enable = "false";
					cil_settletime = "0";

					active_w = "480";
					active_h = "640";
					mode_type = "yuv";
                    pixel_phase = "uyvy";
                    csi_pixel_bit_depth = "16";
					readout_orientation = "0";
					line_length = "750";
					inherent_gain = "1";
					mclk_multiplier = "2";
					pix_clk_hz = "74250000";

					gain_factor = "16";
					framerate_factor = "1000000";
					exposure_factor = "1000000";
					min_gain_val = "16"; /* 1.00x */
					max_gain_val = "170"; /* 10.66x */
					step_gain_val = "1";
					default_gain = "16"; /* 1.00x */
					min_hdr_ratio = "1";
					max_hdr_ratio = "1";
					min_framerate = "2000000"; /* 2.0 fps */
					max_framerate = "120000000"; /* 120 fps */
					step_framerate = "1";
					default_framerate = "120000000"; /* 120 fps */
					min_exp_time = "13"; /* us */
					max_exp_time = "8333"; /* us */
					step_exp_time = "1";
					default_exp_time = "2495"; /* us */

					embedded_metadata_height = "0";
				};

					ports {
						#address-cells = <1>;
						#size-cells = <0>;

						port@0 {
							reg = <0>;
							cssc132_out3: endpoint {
								port-index = <3>;
								bus-width = <2>;
								remote-endpoint = <&cssc132_csi_in3>;
							};
						};
					};
				};
			};

			i2c@4 {
				cssc132_e@3b {
					compatible = "nvidia,cs_sc132";
					reg = <0x3b>;
					devnode = "video4";

					/* Physical dimensions of sensor */
                    physical_w = "5.6";
                    physical_h = "3.1";

					/* Define any required hw resources needed by driver */
					/* ie. clocks, io pins, power sources */
					avdd-reg = "vana";
					iovdd-reg = "vif";

					/* Enable EEPROM support */
					has-eeprom = "0";

				mode0 { /* SC132_MODE_1280X1080_45FPS */
					mclk_khz = "24000";
					num_lanes = "2";
					tegra_sinterface = "serial_e";
					phy_mode = "DPHY";
					discontinuous_clk = "yes";
					dpcm_enable = "false";
					cil_settletime = "0";

					active_w = "1280";
					active_h = "1080";
					mode_type = "yuv";
                    pixel_phase = "uyvy";
                    csi_pixel_bit_depth = "16";
					readout_orientation = "0";
					line_length = "1500";
					inherent_gain = "1";
					mclk_multiplier = "2";
					pix_clk_hz = "74250000";

					gain_factor = "16";
					framerate_factor = "1000000";
					exposure_factor = "1000000";
					min_gain_val = "16"; /* 1.00x */
					max_gain_val = "170"; /* 10.66x */
					step_gain_val = "1";
					default_gain = "16"; /* 1.00x */
					min_hdr_ratio = "1";
					max_hdr_ratio = "1";
					min_framerate = "2000000"; /* 2.0 fps */
					max_framerate = "45000000"; /* 45 fps */
					step_framerate = "1000000";
					default_framerate = "45000000"; /* 45 fps */
					min_exp_time = "13"; /* us */
					max_exp_time = "222222"; /* us */
					step_exp_time = "1";
					default_exp_time = "2495"; /* us */

					embedded_metadata_height = "0";
				};
                mode1 { /* SC132_MODE_1080X1280_45FPS */
					mclk_khz = "24000";
					num_lanes = "2";
					tegra_sinterface = "serial_e";
					phy_mode = "DPHY";
					discontinuous_clk = "yes";
					dpcm_enable = "false";
					cil_settletime = "0";

					active_w = "1080";
					active_h = "1280";
					mode_type = "yuv";
                    pixel_phase = "uyvy";
                    csi_pixel_bit_depth = "16";
					readout_orientation = "0";
					line_length = "1200";
					inherent_gain = "1";
					mclk_multiplier = "2";
					pix_clk_hz = "74250000";

					gain_factor = "16";
					framerate_factor = "1000000";
					exposure_factor = "1000000";
					min_gain_val = "16"; /* 1.00x */
					max_gain_val = "170"; /* 10.66x */
					step_gain_val = "1";
					default_gain = "16"; /* 1.00x */
					min_hdr_ratio = "1";
					max_hdr_ratio = "1";
					min_framerate = "2000000"; /* 2.0 fps */
					max_framerate = "45000000"; /* 45 fps */
					step_framerate = "1000000";
					default_framerate = "45000000"; /* 45 fps */
					min_exp_time = "13"; /* us */
					max_exp_time = "222222"; /* us */
					step_exp_time = "1";
					default_exp_time = "2495"; /* us */

					embedded_metadata_height = "0";
				};
                mode2 { /* SC132_MODE_1280X720_CROP_60FPS */
					mclk_khz = "24000";
					num_lanes = "2";
					tegra_sinterface = "serial_e";
					phy_mode = "DPHY";
					discontinuous_clk = "yes";
					dpcm_enable = "false";
					cil_settletime = "0";

					active_w = "1280";
					active_h = "720";
					mode_type = "yuv";
                    pixel_phase = "uyvy";
                    csi_pixel_bit_depth = "16";
					readout_orientation = "0";
					line_length = "1650";
					inherent_gain = "1";
					mclk_multiplier = "2";
					pix_clk_hz = "74250000";

					gain_factor = "16";
					framerate_factor = "1000000";
					exposure_factor = "1000000";
					min_gain_val = "16"; /* 1.00x */
					max_gain_val = "170"; /* 10.66x */
					step_gain_val = "1";
					default_gain = "16"; /* 1.00x */
					min_hdr_ratio = "1";
					max_hdr_ratio = "1";
					min_framerate = "2000000"; /* 2.0 fps */
					max_framerate = "60000000"; /* 60 fps */
					step_framerate = "1000000";
					default_framerate = "60000000"; /* 60 fps */
					min_exp_time = "13"; /* us */
					max_exp_time = "166666"; /* us */
					step_exp_time = "1";
					default_exp_time = "2495"; /* us */

					embedded_metadata_height = "0";
				};
                mode3 { /* SC132_MODE_720X12800_CROP_60FPS */
					mclk_khz = "24000";
					num_lanes = "2";
					tegra_sinterface = "serial_e";
					phy_mode = "DPHY";
					discontinuous_clk = "yes";
					dpcm_enable = "false";
					cil_settletime = "0";

					active_w = "720";
					active_h = "1280";
					mode_type = "yuv";
                    pixel_phase = "uyvy";
                    csi_pixel_bit_depth = "16";
					readout_orientation = "0";
					line_length = "900";
					inherent_gain = "1";
					mclk_multiplier = "2";
					pix_clk_hz = "74250000";

					gain_factor = "16";
					framerate_factor = "1000000";
					exposure_factor = "1000000";
					min_gain_val = "16"; /* 1.00x */
					max_gain_val = "170"; /* 10.66x */
					step_gain_val = "1";
					default_gain = "16"; /* 1.00x */
					min_hdr_ratio = "1";
					max_hdr_ratio = "1";
					min_framerate = "2000000"; /* 2.0 fps */
					max_framerate = "60000000"; /* 60 fps */
					step_framerate = "1000000";
					default_framerate = "60000000"; /* 60 fps */
					min_exp_time = "13"; /* us */
					max_exp_time = "166666"; /* us */
					step_exp_time = "1";
					default_exp_time = "2495"; /* us */

					embedded_metadata_height = "0";
				};
                mode4 { /* SC132_MODE_640X480_CROP_120FPS */
					mclk_khz = "24000";
					num_lanes = "2";
					tegra_sinterface = "serial_e";
					phy_mode = "DPHY";
					discontinuous_clk = "yes";
					dpcm_enable = "false";
					cil_settletime = "0";

					active_w = "640";
					active_h = "480";
					mode_type = "yuv";
                    pixel_phase = "uyvy";
                    csi_pixel_bit_depth = "16";
					readout_orientation = "0";
					line_length = "825";
					inherent_gain = "1";
					mclk_multiplier = "2";
					pix_clk_hz = "74250000";

					gain_factor = "16";
					framerate_factor = "1000000";
					exposure_factor = "1000000";
					min_gain_val = "16"; /* 1.00x */
					max_gain_val = "170"; /* 10.66x */
					step_gain_val = "1";
					default_gain = "16"; /* 1.00x */
					min_hdr_ratio = "1";
					max_hdr_ratio = "1";
					min_framerate = "2000000"; /* 2.0 fps */
					max_framerate = "120000000"; /* 120 fps */
					step_framerate = "1";
					default_framerate = "120000000"; /* 120 fps */
					min_exp_time = "13"; /* us */
					max_exp_time = "8333"; /* us */
					step_exp_time = "1";
					default_exp_time = "2495"; /* us */

					embedded_metadata_height = "0";
				};
                mode5 { /* SC132_MODE_480X640_CROP_120FPS */
					mclk_khz = "24000";
					num_lanes = "2";
					tegra_sinterface = "serial_e";
					phy_mode = "DPHY";
					discontinuous_clk = "yes";
					dpcm_enable = "false";
					cil_settletime = "0";

					active_w = "480";
					active_h = "640";
					mode_type = "yuv";
                    pixel_phase = "uyvy";
                    csi_pixel_bit_depth = "16";
					readout_orientation = "0";
					line_length = "750";
					inherent_gain = "1";
					mclk_multiplier = "2";
					pix_clk_hz = "74250000";

					gain_factor = "16";
					framerate_factor = "1000000";
					exposure_factor = "1000000";
					min_gain_val = "16"; /* 1.00x */
					max_gain_val = "170"; /* 10.66x */
					step_gain_val = "1";
					default_gain = "16"; /* 1.00x */
					min_hdr_ratio = "1";
					max_hdr_ratio = "1";
					min_framerate = "2000000"; /* 2.0 fps */
					max_framerate = "120000000"; /* 120 fps */
					step_framerate = "1";
					default_framerate = "120000000"; /* 120 fps */
					min_exp_time = "13"; /* us */
					max_exp_time = "8333"; /* us */
					step_exp_time = "1";
					default_exp_time = "2495"; /* us */

					embedded_metadata_height = "0";
				};


					ports {
						#address-cells = <1>;
						#size-cells = <0>;

						port@0 {
							reg = <0>;
							cssc132_out4: endpoint {
								port-index = <4>;
								bus-width = <2>;
								remote-endpoint = <&cssc132_csi_in4>;
							};
						};
					};
				};
			};

			i2c@5 {
				cssc132_g@3b  {
					compatible = "nvidia,cs_sc132";
					reg = <0x3b>;
					devnode = "video5";

					/* Physical dimensions of sensor */
                    physical_w = "5.6";
                    physical_h = "3.1";

					/* Define any required hw resources needed by driver */
					/* ie. clocks, io pins, power sources */
					avdd-reg = "vana";
					iovdd-reg = "vif";

					/* Enable EEPROM support */
					has-eeprom = "0";

				mode0 { /* SC132_MODE_1280X1080_45FPS */
					mclk_khz = "24000";
					num_lanes = "2";
					tegra_sinterface = "serial_g";
					phy_mode = "DPHY";
					discontinuous_clk = "yes";
					dpcm_enable = "false";
					cil_settletime = "0";

					active_w = "1280";
					active_h = "1080";
					mode_type = "yuv";
                    pixel_phase = "uyvy";
                    csi_pixel_bit_depth = "16";
					readout_orientation = "0";
					line_length = "1500";
					inherent_gain = "1";
					mclk_multiplier = "2";
					pix_clk_hz = "74250000";

					gain_factor = "16";
					framerate_factor = "1000000";
					exposure_factor = "1000000";
					min_gain_val = "16"; /* 1.00x */
					max_gain_val = "170"; /* 10.66x */
					step_gain_val = "1";
					default_gain = "16"; /* 1.00x */
					min_hdr_ratio = "1";
					max_hdr_ratio = "1";
					min_framerate = "2000000"; /* 2.0 fps */
					max_framerate = "45000000"; /* 45 fps */
					step_framerate = "1000000";
					default_framerate = "45000000"; /* 45 fps */
					min_exp_time = "13"; /* us */
					max_exp_time = "222222"; /* us */
					step_exp_time = "1";
					default_exp_time = "2495"; /* us */

					embedded_metadata_height = "0";
				};
                mode1 { /* SC132_MODE_1080X1280_45FPS */
					mclk_khz = "24000";
					num_lanes = "2";
					tegra_sinterface = "serial_g";
					phy_mode = "DPHY";
					discontinuous_clk = "yes";
					dpcm_enable = "false";
					cil_settletime = "0";

					active_w = "1080";
					active_h = "1280";
					mode_type = "yuv";
                    pixel_phase = "uyvy";
                    csi_pixel_bit_depth = "16";
					readout_orientation = "0";
					line_length = "1200";
					inherent_gain = "1";
					mclk_multiplier = "2";
					pix_clk_hz = "74250000";

					gain_factor = "16";
					framerate_factor = "1000000";
					exposure_factor = "1000000";
					min_gain_val = "16"; /* 1.00x */
					max_gain_val = "170"; /* 10.66x */
					step_gain_val = "1";
					default_gain = "16"; /* 1.00x */
					min_hdr_ratio = "1";
					max_hdr_ratio = "1";
					min_framerate = "2000000"; /* 2.0 fps */
					max_framerate = "45000000"; /* 45 fps */
					step_framerate = "1000000";
					default_framerate = "45000000"; /* 45 fps */
					min_exp_time = "13"; /* us */
					max_exp_time = "222222"; /* us */
					step_exp_time = "1";
					default_exp_time = "2495"; /* us */

					embedded_metadata_height = "0";
				};
                mode2 { /* SC132_MODE_1280X720_CROP_60FPS */
					mclk_khz = "24000";
					num_lanes = "2";
					tegra_sinterface = "serial_g";
					phy_mode = "DPHY";
					discontinuous_clk = "yes";
					dpcm_enable = "false";
					cil_settletime = "0";

					active_w = "1280";
					active_h = "720";
					mode_type = "yuv";
                    pixel_phase = "uyvy";
                    csi_pixel_bit_depth = "16";
					readout_orientation = "0";
					line_length = "1650";
					inherent_gain = "1";
					mclk_multiplier = "2";
					pix_clk_hz = "74250000";

					gain_factor = "16";
					framerate_factor = "1000000";
					exposure_factor = "1000000";
					min_gain_val = "16"; /* 1.00x */
					max_gain_val = "170"; /* 10.66x */
					step_gain_val = "1";
					default_gain = "16"; /* 1.00x */
					min_hdr_ratio = "1";
					max_hdr_ratio = "1";
					min_framerate = "2000000"; /* 2.0 fps */
					max_framerate = "60000000"; /* 60 fps */
					step_framerate = "1000000";
					default_framerate = "60000000"; /* 60 fps */
					min_exp_time = "13"; /* us */
					max_exp_time = "166666"; /* us */
					step_exp_time = "1";
					default_exp_time = "2495"; /* us */

					embedded_metadata_height = "0";
				};
                mode3 { /* SC132_MODE_720X12800_CROP_60FPS */
					mclk_khz = "24000";
					num_lanes = "2";
					tegra_sinterface = "serial_g";
					phy_mode = "DPHY";
					discontinuous_clk = "yes";
					dpcm_enable = "false";
					cil_settletime = "0";

					active_w = "720";
					active_h = "1280";
					mode_type = "yuv";
                    pixel_phase = "uyvy";
                    csi_pixel_bit_depth = "16";
					readout_orientation = "0";
					line_length = "900";
					inherent_gain = "1";
					mclk_multiplier = "2";
					pix_clk_hz = "74250000";

					gain_factor = "16";
					framerate_factor = "1000000";
					exposure_factor = "1000000";
					min_gain_val = "16"; /* 1.00x */
					max_gain_val = "170"; /* 10.66x */
					step_gain_val = "1";
					default_gain = "16"; /* 1.00x */
					min_hdr_ratio = "1";
					max_hdr_ratio = "1";
					min_framerate = "2000000"; /* 2.0 fps */
					max_framerate = "60000000"; /* 60 fps */
					step_framerate = "1000000";
					default_framerate = "60000000"; /* 60 fps */
					min_exp_time = "13"; /* us */
					max_exp_time = "166666"; /* us */
					step_exp_time = "1";
					default_exp_time = "2495"; /* us */

					embedded_metadata_height = "0";
				};
                mode4 { /* SC132_MODE_640X480_CROP_120FPS */
					mclk_khz = "24000";
					num_lanes = "2";
					tegra_sinterface = "serial_g";
					phy_mode = "DPHY";
					discontinuous_clk = "yes";
					dpcm_enable = "false";
					cil_settletime = "0";

					active_w = "640";
					active_h = "480";
					mode_type = "yuv";
                    pixel_phase = "uyvy";
                    csi_pixel_bit_depth = "16";
					readout_orientation = "0";
					line_length = "825";
					inherent_gain = "1";
					mclk_multiplier = "2";
					pix_clk_hz = "74250000";

					gain_factor = "16";
					framerate_factor = "1000000";
					exposure_factor = "1000000";
					min_gain_val = "16"; /* 1.00x */
					max_gain_val = "170"; /* 10.66x */
					step_gain_val = "1";
					default_gain = "16"; /* 1.00x */
					min_hdr_ratio = "1";
					max_hdr_ratio = "1";
					min_framerate = "2000000"; /* 2.0 fps */
					max_framerate = "120000000"; /* 120 fps */
					step_framerate = "1";
					default_framerate = "120000000"; /* 120 fps */
					min_exp_time = "13"; /* us */
					max_exp_time = "8333"; /* us */
					step_exp_time = "1";
					default_exp_time = "2495"; /* us */

					embedded_metadata_height = "0";
				};
                mode5 { /* SC132_MODE_480X640_CROP_120FPS */
					mclk_khz = "24000";
					num_lanes = "2";
					tegra_sinterface = "serial_g";
					phy_mode = "DPHY";
					discontinuous_clk = "yes";
					dpcm_enable = "false";
					cil_settletime = "0";

					active_w = "480";
					active_h = "640";
					mode_type = "yuv";
                    pixel_phase = "uyvy";
                    csi_pixel_bit_depth = "16";
					readout_orientation = "0";
					line_length = "750";
					inherent_gain = "1";
					mclk_multiplier = "2";
					pix_clk_hz = "74250000";

					gain_factor = "16";
					framerate_factor = "1000000";
					exposure_factor = "1000000";
					min_gain_val = "16"; /* 1.00x */
					max_gain_val = "170"; /* 10.66x */
					step_gain_val = "1";
					default_gain = "16"; /* 1.00x */
					min_hdr_ratio = "1";
					max_hdr_ratio = "1";
					min_framerate = "2000000"; /* 2.0 fps */
					max_framerate = "120000000"; /* 120 fps */
					step_framerate = "1";
					default_framerate = "120000000"; /* 120 fps */
					min_exp_time = "13"; /* us */
					max_exp_time = "8333"; /* us */
					step_exp_time = "1";
					default_exp_time = "2495"; /* us */

					embedded_metadata_height = "0";
				};

					ports {
						#address-cells = <1>;
						#size-cells = <0>;

						port@0 {
							reg = <0>;
							cssc132_out5: endpoint {
								port-index = <5>;
								bus-width = <2>;
								remote-endpoint = <&cssc132_csi_in5>;
							};
						};
					};
				};
			};
		};
	};

	tegra-camera-platform {
		compatible = "nvidia, tegra-camera-platform";
		/**
		* Physical settings to calculate max ISO BW
		*
		* num_csi_lanes = <>;
		* Total number of CSI lanes when all cameras are active
		*
		* max_lane_speed = <>;
		* Max lane speed in Kbit/s
		*
		* min_bits_per_pixel = <>;
		* Min bits per pixel
		*
		* vi_peak_byte_per_pixel = <>;
		* Max byte per pixel for the VI ISO case
		*
		* vi_bw_margin_pct = <>;
		* Vi bandwidth margin in percentage
		*
		* max_pixel_rate = <>;
		* Max pixel rate in Kpixel/s for the ISP ISO case
		* Set this to the highest pix_clk_hz out of all available modes.
		*
		* isp_peak_byte_per_pixel = <>;
		* Max byte per pixel for the ISP ISO case
		*
		* isp_bw_margin_pct = <>;
		* Isp bandwidth margin in percentage
		*/
		num_csi_lanes = <12>;
		max_lane_speed = <1500000>;
		min_bits_per_pixel = <8>;
		vi_peak_byte_per_pixel = <2>;
		vi_bw_margin_pct = <25>;
		max_pixel_rate = <160000>;
		isp_peak_byte_per_pixel = <5>;
		isp_bw_margin_pct = <25>;

		/**
		* The general guideline for naming badge_info contains 3 parts, and is as follows,
		* The first part is the camera_board_id for the module; if the module is in a FFD
		* platform, then use the platform name for this part.
		* The second part contains the position of the module, ex. “rear” or “front”.
		* The third part contains the last 6 characters of a part number which is found
		* in the module's specsheet from the vender.
		*/
		modules {
			module0 {
				badge = "cssc132_bottomleft_P5V27C";
				position = "bottomleft";
				orientation = "1";
				drivernode0 {
					pcl_id = "v4l2_sensor";
					devname = "cssc132 30-003b";
					proc-device-tree = "/proc/device-tree/i2c@3180000/tca9548@70/i2c@0/cssc132_a@3b";
				};

			};
			module1 {
				badge = "cssc132_centerleft_P5V27C";
				position = "centerleft";
				orientation = "1";
				drivernode0 {
					pcl_id = "v4l2_sensor";
					devname = "cssc132 31-003b";
					proc-device-tree = "/proc/device-tree/i2c@3180000/tca9548@70/i2c@1/cssc132_b@3b";
				};

			};
			module2 {
				badge = "cssc132_centerright_P5V27C";
				position = "centerright";
				orientation = "1";
				drivernode0 {
					pcl_id = "v4l2_sensor";
					devname = "cssc132 32-003b";
					proc-device-tree = "/proc/device-tree/i2c@3180000/tca9548@70/i2c@2/cssc132_c@3b";
				};

			};
			module3 {
				badge = "cssc132_topleft_P5V27C";
				position = "topleft";
				orientation = "1";
				drivernode0 {
					pcl_id = "v4l2_sensor";
					devname = "cssc132 33-003b";
					proc-device-tree = "/proc/device-tree/i2c@3180000/tca9548@70/i2c@3/cssc132_d@3b";
				};

			};
			module4 {
				badge = "cssc132_bottomright_P5V27C";
				position = "bottomright";
				orientation = "1";
				drivernode0 {
					pcl_id = "v4l2_sensor";
					devname = "cssc132 34-003b";
					proc-device-tree = "/proc/device-tree/i2c@3180000/tca9548@70/i2c@4/cssc132_e@3b";
				};

			};
			module5 {
				badge = "cssc132_topright_P5V27C";
				position = "topright";
				orientation = "1";
				drivernode0 {
					pcl_id = "v4l2_sensor";
					devname = "cssc132 35-003b";
					proc-device-tree = "/proc/device-tree/i2c@3180000/tca9548@70/i2c@5/cssc132_g@3b";
				};

			};
		};
	};
};
